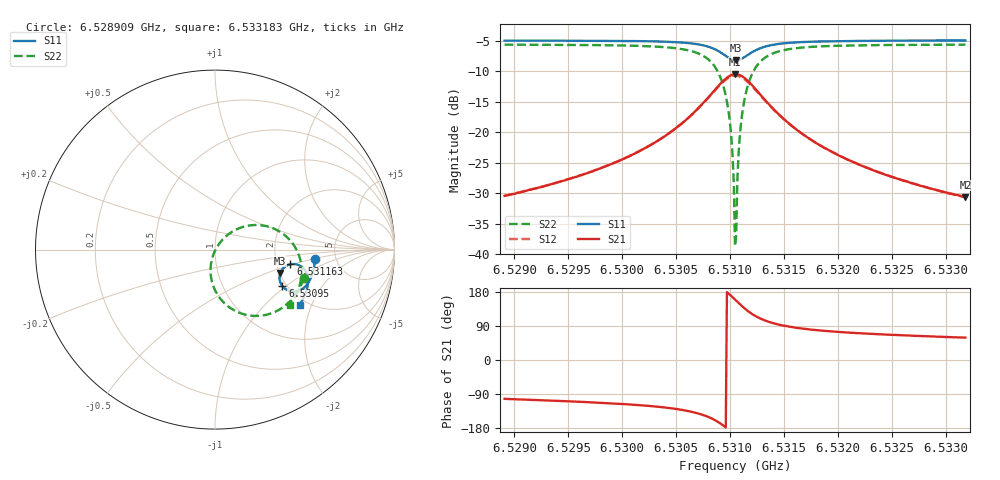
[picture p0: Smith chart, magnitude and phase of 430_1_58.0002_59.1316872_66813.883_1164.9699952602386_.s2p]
#  HZ  S  RI  R  50.00
! Rohde & Schwarz Vector Network Analyzer
! Rohde-Schwarz,ZNB20-2Port,1311601062101988,3.16
! Created: UTC 3/21/2024, 1:09:36 AM
! freq[Hz]  re:S11  im:S11  re:S21  im:S21  re:S12  im:S12  re:S22  im:S22
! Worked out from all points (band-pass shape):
!   401 points, 6.528909 GHz to 6.533183 GHz, reference 50 ohm
!   highest |S21| = -10.51 dB at 6.531046 GHz (marker M1); lowest = -30.6 dB at 6.533183 GHz (marker M2)
!   |S21| within 3 dB of the highest: 6.530838 GHz to 6.531264 GHz (426.1 kHz wide, 0.00652 % of centre)
!   lowest |S11| = -8.3 dB at 6.531057 GHz (marker M3), VSWR 2.26, Z = 101 - j30.8 ohm
!   |S11| at or under -10 dB: nowhere
!   |S22| runs from -38.7 to -5.7 dB; largest |S21 - S12| = 0.011
!   S11 on the Smith chart (normalised r, x): 6.528909 GHz: 3.46, -0.55; 6.53095 GHz: 1.89, -0.95; 6.531163 GHz: 2.38, -0.48; 6.533183 GHz: 1.82, -1.65
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6.5289092e9  0.5583 -0.0544  -0.00643 -0.0294  -0.00714 -0.0293  0.496 -0.1572
6.529625e9  0.5485 -0.1134  -0.0156 -0.0417  -0.0166 -0.0416  0.4667 -0.223
6.5303408e9  0.521 -0.183  -0.0479 -0.0719  -0.0498 -0.0707  0.3884 -0.3147
6.5307682e9  0.4528 -0.2327  -0.1507 -0.0981  -0.153 -0.0921  0.1898 -0.3666
6.530875e9  0.4098 -0.2292  -0.2176 -0.0744  -0.2173 -0.0657  0.075 -0.3177
6.5309498e9  0.3755 -0.2041  -0.2685 -0.0202  -0.2635 -0.0107  -0.00356 -0.2181
6.5309819e9  0.3648 -0.1851  -0.283 0.0163  -0.2757 0.0249  -0.0222 -0.1547
6.5310032e9  0.3603 -0.1701  -0.2873 0.0445  -0.2787 0.0517  -0.0249 -0.1076
6.5310139e9  0.3593 -0.1621  -0.2877 0.0592  -0.2784 0.0656  -0.0229 -0.0832
6.5310353e9  0.3599 -0.1457  -0.2836 0.0888  -0.2735 0.0936  -0.0116 -0.0349
6.531046e9  0.3616 -0.1375  -0.2795 0.1036  -0.2693 0.1073  -0.00243 -0.0114
6.5310566e9  0.364 -0.1295  -0.2737 0.1176  -0.2635 0.1206  0.00911 0.011
6.5310673e9  0.3675 -0.122  -0.2668 0.1311  -0.2565 0.1332  0.0228 0.0321
6.5310887e9  0.3764 -0.1082  -0.249 0.1555  -0.2394 0.1558  0.0556 0.0693
6.5310994e9  0.3817 -0.1022  -0.2388 0.166  -0.2295 0.1655  0.0741 0.0849
6.5311314e9  0.4003 -0.0888  -0.2043 0.19  -0.1966 0.1878  0.1345 0.1193
6.5311635e9  0.4203 -0.0817  -0.1685 0.203  -0.1626 0.2001  0.196 0.1352
6.5312383e9  0.4609 -0.0842  -0.097 0.2021  -0.0941 0.1992  0.3165 0.1215
6.5313451e9  0.4955 -0.107  -0.0368 0.1711  -0.0352 0.1696  0.4149 0.0553
6.5317618e9  0.5185 -0.1841  0.015 0.0842  0.0158 0.0838  0.4829 -0.1275
6.5324776e9  0.4986 -0.2561  0.0173 0.0402  0.018 0.0399  0.4553 -0.2445
6.5331827e9  0.4712 -0.3081  0.0151 0.0253  0.0157 0.0249  0.4204 -0.3061
